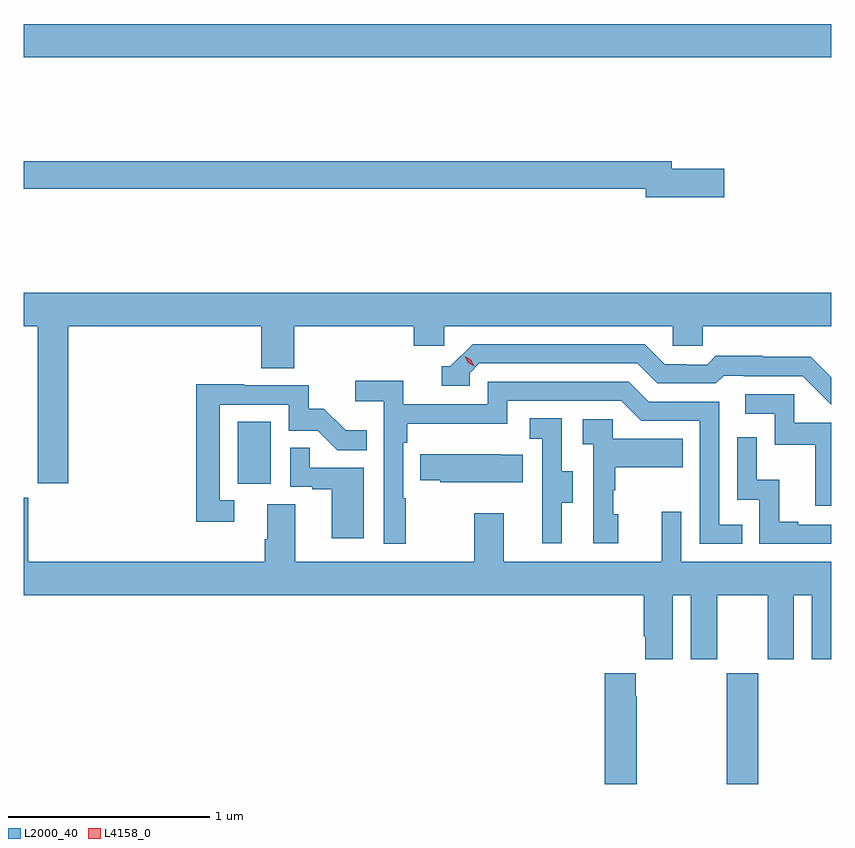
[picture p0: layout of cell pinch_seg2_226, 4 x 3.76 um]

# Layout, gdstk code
import gdstk
lib = gdstk.Library(unit=1e-6, precision=1e-09)
def R(c, l, rs):  # rectangles x0, y0, x1, y1
    for r in rs: c.add(gdstk.rectangle(r[:2], r[2:], *l))
def P(c, l, *ps):  # polygons
    for p in ps: c.add(gdstk.Polygon(p, *l))
L2000_40 = (2000, 40)
L4158_0 = (4158, 0)

pinch_seg2_226 = lib.new_cell('pinch_seg2_226')
R(pinch_seg2_226, L2000_40, [(988.699,653.36,988.854,653.908), (986.276,654.846,986.44,655.153), (985.217,656.96,989.217,657.124)])
P(pinch_seg2_226, L2000_40, [(988.687,656.408),(988.426,656.408),(988.426,656.444),(985.217,656.444),(985.217,656.308),(988.298,656.308),(988.298,656.266),(988.687,656.266)],
  [(985.439,655.628),(986.393,655.628),(986.393,655.42),(986.558,655.42),(986.558,655.628),(987.149,655.628),(987.149,655.53),(987.3,655.53),(987.3,655.628),(988.431,655.628),(988.431,655.53),(988.581,655.53),(988.581,655.628),(989.217,655.628),(989.217,655.792),(985.217,655.792),(985.217,655.628),(985.286,655.628),(985.286,654.849),(985.439,654.849)],
  [(989.217,655.374),(989.114,655.477),(988.878,655.477),(988.878,655.48),(988.645,655.48),(988.603,655.437),(988.5,655.437),(988.5,655.44),(988.393,655.44),(988.294,655.539),(987.441,655.539),(987.33,655.428),(987.287,655.428),(987.287,655.332),(987.426,655.332),(987.426,655.395),(987.474,655.443),(988.257,655.443),(988.356,655.344),(988.645,655.344),(988.684,655.383),(988.783,655.383),(988.783,655.38),(989.076,655.38),(989.217,655.239)],
  [(987.109,654.776),(987.096,654.776),(987.096,655.049),(987.116,655.049),(987.116,655.145),(987.612,655.145),(987.612,655.257),(988.176,655.257),(988.275,655.158),(988.566,655.158),(988.566,654.549),(988.775,654.549),(988.775,654.645),(988.662,654.645),(988.662,655.254),(988.312,655.254),(988.213,655.353),(987.516,655.353),(987.516,655.242),(987.098,655.242),(987.098,655.358),(986.859,655.358),(986.859,655.256),(987,655.256),(987,654.549),(987.109,654.549)],
  [(986.26,654.765),(986.187,654.765),(986.187,655.239),(986.529,655.239),(986.529,655.11),(986.673,655.11),(986.771,655.012),(986.915,655.012),(986.915,655.111),(986.811,655.111),(986.704,655.218),(986.628,655.218),(986.628,655.335),(986.309,655.335),(986.309,655.34),(986.071,655.34),(986.071,654.66),(986.26,654.66)],
  [(989.217,655.149),(989.034,655.149),(989.034,655.29),(988.791,655.29),(988.791,655.194),(988.938,655.194),(988.938,655.041),(989.137,655.041),(989.137,654.738),(989.217,654.738)],
  [(987.883,654.754),(987.937,654.754),(987.937,654.909),(987.882,654.909),(987.882,655.172),(987.723,655.172),(987.723,655.069),(987.786,655.069),(987.786,654.765),(987.785,654.765),(987.785,654.552),(987.883,654.552)],
  [(988.162,654.696),(988.137,654.696),(988.137,654.815),(988.147,654.815),(988.147,654.929),(988.481,654.929),(988.481,655.069),(988.134,655.069),(988.134,655.167),(987.987,655.167),(987.987,655.043),(988.038,655.043),(988.038,654.552),(988.162,654.552)],
  [(989.217,654.645),(989.053,654.645),(989.053,654.658),(988.958,654.658),(988.958,654.866),(988.848,654.866),(988.848,655.078),(988.752,655.078),(988.752,654.768),(988.86,654.768),(988.86,654.549),(989.217,654.549)],
  [(986.902,654.927),(986.633,654.927),(986.633,655.025),(986.538,655.025),(986.538,654.831),(986.645,654.831),(986.645,654.819),(986.744,654.819),(986.744,654.576),(986.902,654.576)],
  [(987.689,654.991),(987.581,654.991),(987.581,654.994),(987.181,654.994),(987.181,654.865),(987.279,654.865),(987.279,654.854),(987.689,654.854)],
  [(985.217,654.777),(985.217,654.296),(988.289,654.296),(988.289,654.091),(988.295,654.091),(988.295,653.979),(988.432,653.979),(988.432,654.296),(988.52,654.296),(988.52,653.979),(988.651,653.979),(988.651,654.296),(988.901,654.296),(988.901,653.979),(989.032,653.979),(989.032,654.296),(989.12,654.296),(989.12,653.979),(989.217,653.979),(989.217,654.46),(988.473,654.46),(988.473,654.709),(988.376,654.709),(988.376,654.46),(987.595,654.46),(987.595,654.7),(987.448,654.7),(987.448,654.46),(986.563,654.46),(986.563,654.746),(986.423,654.746),(986.423,654.572),(986.411,654.572),(986.411,654.46),(985.24,654.46),(985.24,654.777)],
  [(988.254,653.795),(988.249,653.795),(988.249,653.908),(988.094,653.908),(988.094,653.36),(988.254,653.36)])
P(pinch_seg2_226, L4158_0, [(987.448,655.428),(987.418,655.447),(987.401,655.479),(987.401,655.479),(987.401,655.479),(987.432,655.46),(987.449,655.428),(987.449,655.428)])

lib.write_gds('pinch_seg2_226.gds')
